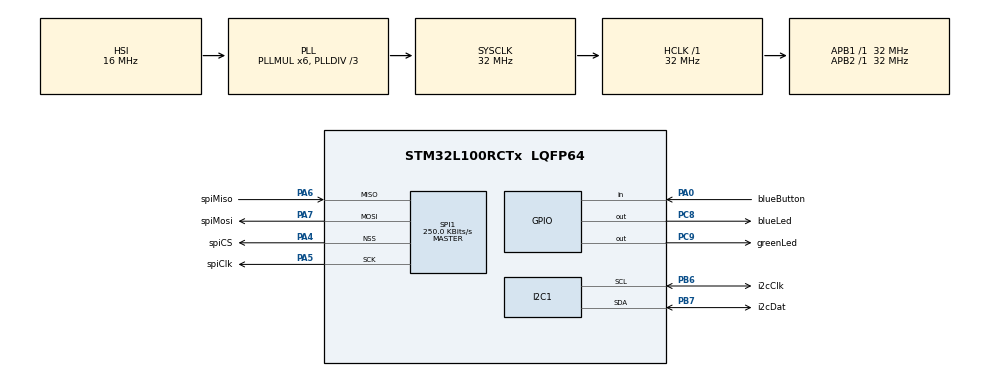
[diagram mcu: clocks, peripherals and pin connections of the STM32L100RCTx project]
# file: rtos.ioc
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FREERTOS.Mutexes01=sensorDatLck,Static,sensorDatLckControlBlock
FREERTOS.Tasks01=defaultTask,8,128,StartDefaultTask,Default,NULL,Static,defaultTaskBuffer,defaultTaskControlBlock;sensorTask,40,256,StartSensorTask,Default,NULL,Static,sensorTaskBuffer,sensorTaskControlBlock;bleTask,24,256,StartBleTask,Default,NULL,Static,bleTaskBuffer,bleTaskControlBlock
Mcu.Family=STM32L1
Mcu.Name=STM32L100RCTx
Mcu.Package=LQFP64
NVIC.PriorityGroup=NVIC_PRIORITYGROUP_4
NVIC.TIM2_IRQn=true\:0\:0\:false\:false\:true\:false\:false\:true
NVIC.TimeBase=TIM2_IRQn
NVIC.TimeBaseIP=TIM2
PA0-WKUP1.GPIO_Label=blueButton
PA0-WKUP1.Signal=GPIO_Input
PA10.GPIO_Label=dbgUartRx
PA10.Signal=USART1_RX
PA13.GPIO_Label=SWDIO
PA13.Mode=Trace_Asynchronous_SW
PA13.Signal=SYS_JTMS-SWDIO
PA14.GPIO_Label=SWCLK
PA14.Mode=Trace_Asynchronous_SW
PA14.Signal=SYS_JTCK-SWCLK
PA4.GPIO_Label=spiCS
PA4.Mode=NSS_Signal_Hard_Output
PA4.Signal=SPI1_NSS
PA5.GPIO_Label=spiClk
PA5.Mode=Full_Duplex_Master
PA5.Signal=SPI1_SCK
PA6.GPIO_Label=spiMiso
PA6.Mode=Full_Duplex_Master
PA6.Signal=SPI1_MISO
PA7.GPIO_Label=spiMosi
PA7.Mode=Full_Duplex_Master
PA7.Signal=SPI1_MOSI
PA9.GPIO_Label=dbgUartTx
PA9.Signal=USART1_TX
PB3.GPIO_Label=SWO
PB3.Mode=Trace_Asynchronous_SW
PB3.Signal=SYS_JTDO-TRACESWO
PB6.GPIO_Label=i2cClk
PB6.Mode=I2C
PB6.Signal=I2C1_SCL
PB7.GPIO_Label=i2cDat
PB7.Mode=I2C
PB7.Signal=I2C1_SDA
PC14-OSC32_IN.GPIO_Label=PC14-OSC32_IN
PC14-OSC32_IN.Signal=RCC_OSC32_IN
PC15-OSC32_OUT.GPIO_Label=PC15-OSC32_OUT
PC15-OSC32_OUT.Signal=RCC_OSC32_OUT
PC8.GPIO_Label=blueLed
PC8.Signal=GPIO_Output
PC9.GPIO_Label=greenLed
PC9.Signal=GPIO_Output
PH0-OSC_IN.GPIO_Label=PH0-OSC_IN
PH0-OSC_IN.Mode=HSE-External-Clock-Source
PH0-OSC_IN.Signal=RCC_OSC_IN
PH1-OSC_OUT.GPIO_Label=PH1-OSC_OUT
PH1-OSC_OUT.Signal=RCC_OSC_OUT
ProjectManager.HeapSize=0x200
ProjectManager.StackSize=0x400
ProjectManager.TargetToolchain=STM32CubeIDE
RCC.48MHZClocksFreq_Value=48000000
RCC.AHBFreq_Value=32000000
RCC.APB1Freq_Value=32000000
RCC.APB1TimFreq_Value=32000000
RCC.APB2Freq_Value=32000000
RCC.APB2TimFreq_Value=32000000
RCC.HCLKFreq_Value=32000000
RCC.HSE_VALUE=8000000
RCC.HSI_VALUE=16000000
RCC.LSEState=RCC_LSE_ON
RCC.LSE_VALUE=32768
RCC.MSI_VALUE=2097000
RCC.PLLDIV=RCC_PLL_DIV3
RCC.PLLMUL=RCC_PLL_MUL6
RCC.RTCClockSelectionVirtual=RCC_RTCCLKSOURCE_LSE
RCC.SYSCLKFreq_VALUE=32000000
RCC.SYSCLKSource=RCC_SYSCLKSOURCE_PLLCLK
RCC.USBOutput=48000000
RCC.VCOOutputFreq_Value=96000000
SPI1.BaudRatePrescaler=SPI_BAUDRATEPRESCALER_128
SPI1.CalculateBaudRate=250.0 KBits/s
SPI1.Direction=SPI_DIRECTION_2LINES
SPI1.Mode=SPI_MODE_MASTER
SPI1.VirtualNSS=VM_NSSHARD
SPI1.VirtualType=VM_MASTER
VP_FREERTOS_VS_CMSIS_V2.Mode=CMSIS_V2
VP_SYS_VS_tim2.Mode=TIM2
board=STM32L100C-DISCO

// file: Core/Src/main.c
/* USER CODE BEGIN Header */
/**
 ******************************************************************************
 * @file           : main.c
 * @brief          : Main program body
 ******************************************************************************
 * @attention
 *
 * <h2><center>&copy; Copyright (c) 2020 STMicroelectronics.
 * All rights reserved.</center></h2>
 *
 * This software component is licensed by ST under BSD 3-Clause license,
 * the "License"; You may not use this file except in compliance with the
 * License. You may obtain a copy of the License at:
 *                        opensource.org/licenses/BSD-3-Clause
 *
 ******************************************************************************
 */
/* USER CODE END Header */

#include "main.h"
#include "cmsis_os.h"

/* USER CODE BEGIN Includes */
#include "ostasks.h"
#include "utils.h"
#include "gpio.h"
/* USER CODE END Includes */

typedef StaticTask_t osStaticThreadDef_t;
typedef StaticSemaphore_t osStaticMutexDef_t;

I2C_HandleTypeDef hi2c1;

SPI_HandleTypeDef hspi1;

/* Definitions for defaultTask */
osThreadId_t defaultTaskHandle;
uint32_t defaultTaskBuffer[ 128 ];
osStaticThreadDef_t defaultTaskControlBlock;
const osThreadAttr_t defaultTask_attributes = {
  .name = "defaultTask",
  .stack_mem = &defaultTaskBuffer[0],
  .stack_size = sizeof(defaultTaskBuffer),
  .cb_mem = &defaultTaskControlBlock,
  .cb_size = sizeof(defaultTaskControlBlock),
  .priority = (osPriority_t) osPriorityLow,
};
/* Definitions for sensorTask */
osThreadId_t sensorTaskHandle;
uint32_t sensorTaskBuffer[ 256 ];
osStaticThreadDef_t sensorTaskControlBlock;
const osThreadAttr_t sensorTask_attributes = {
  .name = "sensorTask",
  .stack_mem = &sensorTaskBuffer[0],
  .stack_size = sizeof(sensorTaskBuffer),
  .cb_mem = &sensorTaskControlBlock,
  .cb_size = sizeof(sensorTaskControlBlock),
  .priority = (osPriority_t) osPriorityHigh,
};
/* Definitions for bleTask */
osThreadId_t bleTaskHandle;
uint32_t bleTaskBuffer[ 256 ];
osStaticThreadDef_t bleTaskControlBlock;
const osThreadAttr_t bleTask_attributes = {
  .name = "bleTask",
  .stack_mem = &bleTaskBuffer[0],
  .stack_size = sizeof(bleTaskBuffer),
  .cb_mem = &bleTaskControlBlock,
  .cb_size = sizeof(bleTaskControlBlock),
  .priority = (osPriority_t) osPriorityNormal,
};
/* Definitions for sensorDatLck */
osMutexId_t sensorDatLckHandle;
osStaticMutexDef_t sensorDatLckControlBlock;
const osMutexAttr_t sensorDatLck_attributes = {
  .name = "sensorDatLck",
  .cb_mem = &sensorDatLckControlBlock,
  .cb_size = sizeof(sensorDatLckControlBlock),
};

void SystemClock_Config(void);
static void MX_GPIO_Init(void);
static void MX_SPI1_Init(void);
static void MX_I2C1_Init(void);
void StartDefaultTask(void *argument);
void StartSensorTask(void *argument);
void StartBleTask(void *argument);

int main(void)
{

  /* MCU Configuration--------------------------------------------------------*/

  /* Reset of all peripherals, Initializes the Flash interface and the Systick. */
  HAL_Init();

  /* Configure the system clock */
  SystemClock_Config();

  /* Initialize all configured peripherals */
  MX_GPIO_Init();
  MX_SPI1_Init();
  MX_I2C1_Init();

  /* Init scheduler */
  osKernelInitialize();
  /* Create the mutex(es) */
  /* creation of sensorDatLck */
  sensorDatLckHandle = osMutexNew(&sensorDatLck_attributes);

  /* Create the thread(s) */
  /* creation of defaultTask */
  defaultTaskHandle = osThreadNew(StartDefaultTask, NULL, &defaultTask_attributes);

  /* creation of sensorTask */
  sensorTaskHandle = osThreadNew(StartSensorTask, NULL, &sensorTask_attributes);

  /* creation of bleTask */
  bleTaskHandle = osThreadNew(StartBleTask, NULL, &bleTask_attributes);

  /* Start scheduler */
  osKernelStart();

  /* We should never get here as control is now taken by the scheduler */
  /* Infinite loop */
	while (1) {

    /* USER CODE BEGIN 3 */
		Error_Handler();
	}
  /* USER CODE END 3 */
}

void SystemClock_Config(void)
{
  RCC_OscInitTypeDef RCC_OscInitStruct = {0};
  RCC_ClkInitTypeDef RCC_ClkInitStruct = {0};

  /** Configure the main internal regulator output voltage
  */
  __HAL_PWR_VOLTAGESCALING_CONFIG(PWR_REGULATOR_VOLTAGE_SCALE1);
  /** Initializes the CPU, AHB and APB busses clocks
  */
  RCC_OscInitStruct.OscillatorType = RCC_OSCILLATORTYPE_HSI;
  RCC_OscInitStruct.HSIState = RCC_HSI_ON;
  RCC_OscInitStruct.HSICalibrationValue = RCC_HSICALIBRATION_DEFAULT;
  RCC_OscInitStruct.PLL.PLLState = RCC_PLL_ON;
  RCC_OscInitStruct.PLL.PLLSource = RCC_PLLSOURCE_HSI;
  RCC_OscInitStruct.PLL.PLLMUL = RCC_PLL_MUL6;
  RCC_OscInitStruct.PLL.PLLDIV = RCC_PLL_DIV3;
  if (HAL_RCC_OscConfig(&RCC_OscInitStruct) != HAL_OK)
  {
    Error_Handler();
  }
  /** Initializes the CPU, AHB and APB busses clocks
  */
  RCC_ClkInitStruct.ClockType = RCC_CLOCKTYPE_HCLK|RCC_CLOCKTYPE_SYSCLK
                              |RCC_CLOCKTYPE_PCLK1|RCC_CLOCKTYPE_PCLK2;
  RCC_ClkInitStruct.SYSCLKSource = RCC_SYSCLKSOURCE_PLLCLK;
  RCC_ClkInitStruct.AHBCLKDivider = RCC_SYSCLK_DIV1;
  RCC_ClkInitStruct.APB1CLKDivider = RCC_HCLK_DIV1;
  RCC_ClkInitStruct.APB2CLKDivider = RCC_HCLK_DIV1;

  if (HAL_RCC_ClockConfig(&RCC_ClkInitStruct, FLASH_LATENCY_1) != HAL_OK)
  {
    Error_Handler();
  }
}

static void MX_I2C1_Init(void)
{

  hi2c1.Instance = I2C1;
  hi2c1.Init.ClockSpeed = 100000;
  hi2c1.Init.DutyCycle = I2C_DUTYCYCLE_2;
  hi2c1.Init.OwnAddress1 = 0;
  hi2c1.Init.AddressingMode = I2C_ADDRESSINGMODE_7BIT;
  hi2c1.Init.DualAddressMode = I2C_DUALADDRESS_DISABLE;
  hi2c1.Init.OwnAddress2 = 0;
  hi2c1.Init.GeneralCallMode = I2C_GENERALCALL_DISABLE;
  hi2c1.Init.NoStretchMode = I2C_NOSTRETCH_DISABLE;
  if (HAL_I2C_Init(&hi2c1) != HAL_OK)
  {
    Error_Handler();
  }

}

static void MX_SPI1_Init(void)
{

  /* SPI1 parameter configuration*/
  hspi1.Instance = SPI1;
  hspi1.Init.Mode = SPI_MODE_MASTER;
  hspi1.Init.Direction = SPI_DIRECTION_2LINES;
  hspi1.Init.DataSize = SPI_DATASIZE_8BIT;
  hspi1.Init.CLKPolarity = SPI_POLARITY_LOW;
  hspi1.Init.CLKPhase = SPI_PHASE_1EDGE;
  hspi1.Init.NSS = SPI_NSS_HARD_OUTPUT;
  hspi1.Init.BaudRatePrescaler = SPI_BAUDRATEPRESCALER_128;
  hspi1.Init.FirstBit = SPI_FIRSTBIT_MSB;
  hspi1.Init.TIMode = SPI_TIMODE_DISABLE;
  hspi1.Init.CRCCalculation = SPI_CRCCALCULATION_DISABLE;
  hspi1.Init.CRCPolynomial = 10;
  if (HAL_SPI_Init(&hspi1) != HAL_OK)
  {
    Error_Handler();
  }

}

static void MX_GPIO_Init(void)
{
  GPIO_InitTypeDef GPIO_InitStruct = {0};

  /* GPIO Ports Clock Enable */
  __HAL_RCC_GPIOC_CLK_ENABLE();
  __HAL_RCC_GPIOH_CLK_ENABLE();
  __HAL_RCC_GPIOA_CLK_ENABLE();
  __HAL_RCC_GPIOB_CLK_ENABLE();

  /*Configure GPIO pin Output Level */
  HAL_GPIO_WritePin(GPIOC, blueLed_Pin|greenLed_Pin, GPIO_PIN_RESET);

  /*Configure GPIO pin : blueButton_Pin */
  GPIO_InitStruct.Pin = blueButton_Pin;
  GPIO_InitStruct.Mode = GPIO_MODE_INPUT;
  GPIO_InitStruct.Pull = GPIO_NOPULL;
  HAL_GPIO_Init(blueButton_GPIO_Port, &GPIO_InitStruct);

  /*Configure GPIO pins : blueLed_Pin greenLed_Pin */
  GPIO_InitStruct.Pin = blueLed_Pin|greenLed_Pin;
  GPIO_InitStruct.Mode = GPIO_MODE_OUTPUT_PP;
  GPIO_InitStruct.Pull = GPIO_NOPULL;
  GPIO_InitStruct.Speed = GPIO_SPEED_FREQ_LOW;
  HAL_GPIO_Init(GPIOC, &GPIO_InitStruct);

  /*Configure GPIO pins : dbgUartTx_Pin dbgUartRx_Pin */
  GPIO_InitStruct.Pin = dbgUartTx_Pin|dbgUartRx_Pin;
  GPIO_InitStruct.Mode = GPIO_MODE_AF_PP;
  GPIO_InitStruct.Pull = GPIO_NOPULL;
  GPIO_InitStruct.Speed = GPIO_SPEED_FREQ_VERY_HIGH;
  GPIO_InitStruct.Alternate = GPIO_AF7_USART1;
  HAL_GPIO_Init(GPIOA, &GPIO_InitStruct);

}

void StartDefaultTask(void *argument)
{
  /* USER CODE BEGIN 5 */
	/* Infinite loop */
	nullTask();
  /* USER CODE END 5 */
}

void StartSensorTask(void *argument)
{
  /* USER CODE BEGIN StartSensorTask */
	sensorTask();
  /* USER CODE END StartSensorTask */
}

void StartBleTask(void *argument)
{
  /* USER CODE BEGIN StartBleTask */
	bleTask();
  /* USER CODE END StartBleTask */
}

 /**
  * @brief  Period elapsed callback in non blocking mode
  * @note   This function is called  when TIM2 interrupt took place, inside
  * HAL_TIM_IRQHandler(). It makes a direct call to HAL_IncTick() to increment
  * a global variable "uwTick" used as application time base.
  * @param  htim : TIM handle
  * @retval None
  */
void HAL_TIM_PeriodElapsedCallback(TIM_HandleTypeDef *htim)
{
  if (htim->Instance == TIM2) {
    HAL_IncTick();
  }
}

void Error_Handler(void)
{
  /* USER CODE BEGIN Error_Handler_Debug */
	/* User can add his own implementation to report the HAL error return state */
	clrBleStatusLed();
	clrSensorStatusLed();
	dbgPrintf("fuck %s\n", osThreadGetName(osThreadGetId()));
	while (1)
		;
  /* USER CODE END Error_Handler_Debug */
}

/************************ (C) COPYRIGHT STMicroelectronics *****END OF FILE****/

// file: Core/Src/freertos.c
/* USER CODE BEGIN Header */
/**
 ******************************************************************************
 * File Name          : freertos.c
 * Description        : Code for freertos applications
 ******************************************************************************
 * @attention
 *
 * <h2><center>&copy; Copyright (c) 2020 STMicroelectronics.
 * All rights reserved.</center></h2>
 *
 * This software component is licensed by ST under Ultimate Liberty license
 * SLA0044, the "License"; You may not use this file except in compliance with
 * the License. You may obtain a copy of the License at:
 *                             www.st.com/SLA0044
 *
 ******************************************************************************
 */
/* USER CODE END Header */

#include "FreeRTOS.h"
#include "task.h"
#include "main.h"

/* USER CODE BEGIN Includes */
#include "cmsis_os.h"
#include "sensordata.h"
#include "utils.h"
/* USER CODE END Includes */

/* USER CODE BEGIN Application */
void printSensorCfg(void) {
	int aCfg;
	int gCfg;
	getSensorCfg(&aCfg, &gCfg);
	dbgPrintf("CfgAG: 0x%02x 0x%02x\n", aCfg, gCfg);
}

void printSensorErr(void) {
	// PLACE SENSOR FLAT INORDER TO GET PROPER VALUES
	dbgPrintf("ERR CALC:KEEP SENS FLAT\n");
	// The error values used in the equations are calculated here
	Reading aErr, gErr;
	getSensorErr(&aErr, &gErr);
	dbgPrintf("AEXY: %d %d\n", (int) aErr.x, (int) aErr.y);
	dbgPrintf("GEXYZ: %d %d %d\n", (int) gErr.x, (int) gErr.y, (int) gErr.z);
}

void printRollPitchYaw(void) {
	Reading r;
	getSensorRollPitchYaw(&r);
	dbgPrintf("R:%d P:%d Y:%d\n", (int) r.x, (int) r.y, (int) r.z);
}

void bleTxRollPitchYaw(void) {
	Reading r;
	getSensorRollPitchYaw(&r);
	blePrintf("RPY: %d %d %d\n", (int) r.x, (int) r.y, (int) r.z);
}

void bleTxSensorCfg(void) {
	int aCfg;
	int gCfg;
	getSensorCfg(&aCfg, &gCfg);
	blePrintf("CfgAG: 0x%02x 0x%02x\n", aCfg, gCfg);
}

void bleTxSensorErr(void) {
	// The error values used in the equations are calculated here
	Reading aErr, gErr;
	getSensorErr(&aErr, &gErr);
	// PLACE SENSOR FLAT INORDER TO GET PROPER VALUES
	blePrintf("ERR CALC:KEEP SENS FLAT\n");
	blePrintf("AEXY: %d %d\n", (int) aErr.x, (int) aErr.y);
	blePrintf("GEXYZ: %d %d %d\n", (int) gErr.x, (int) gErr.y, (int) gErr.z);
}

void bleTxDevInfo(){
	char verStr[32];
	get32CharDevInfo(verStr);
	blePrintf("%s\n", verStr);
}

void nullTask(void) {
	for (;;) {
		osDelay(1);
	}
}
// PRIORITY OF SENSOR TASK SHOULD BE HIGHER THAN TASKS WHICH CONSUME SENSOR DATA!!!
// THIS OS DOESN"T SEEM TO HAVE PRIORITY INVERSION.
// HENCE, THERE COULD BE DEADLOCK ON SENSOR DATA IF SENSOR TASK IS AT LOWER PRIORITY THAN TASKS THAT CONSUME SENSOR DATA
void sensorTask(void) {
	initSensor();

	//	// DONT USE ANY OF THE APIS BELOW WITHOUT IMPLEMENTING SIGNAL SYNC MECHANISM
	//	// IF YOU USE WITH SYNC MECHANISM, YOU CAN FIND YOURSELF IN DEADLOCK
	//	rdSensorCfg();
	//	// sensor config read signal
	//	printSensorCfg();
	//
	//	calcSensorErr();
	//	// sensor error read signal
	//	printSensorErr();

	//  // sendor init complete signal
	for (;;) {
		calcSensorRollPitchYaw();
		printRollPitchYaw();

		osDelay(50);
	}
}

void bleTask(void) {
	bleRst();
	osDelay(1000);

	bleTxDevInfo();
	//	// DONT USE ANY OF THE APIS BELOW WITHOUT IMPLEMENTING SIGNAL SYNC MECHANISM
	//	// IF YOU USE WITH SYNC MECHANISM, YOU CAN FIND YOURSELF IN DEADLOCK
	//	// wait for sensor task signals
	//	// if sensor cfg read signal
	//		bleTxSensorCfg();
	//	// if sensor error read signal
	//		bleTxSensorErr();
	//	// if sensor init complete signal
	for (;;) {
		//		uint8_t pTxData[3][20] = {
		//				{ 0x10, 0x01, 0x0a, 0x10, 0x54, 0x68, 0x65, 0x20, 0x71, 0x75, 0x69, 0x63, 0x6b, 0x20, 0x62, 0x72, 0x6f, 0x77, 0x6e, 0x20},
		//				{ 0x10, 0x01, 0x0a, 0x10, 0x66, 0x6f, 0x78, 0x20, 0x6a, 0x75, 0x6d, 0x70, 0x73, 0x20, 0x6f, 0x76, 0x65, 0x72, 0x20, 0x74},
		//				{ 0x10, 0x01, 0x0a, 0xc, 0x68, 0x65, 0x20, 0x6c, 0x61, 0x7a, 0x79, 0x20, 0x64, 0x6f, 0x67, 0x0a, 0xff, 0xff, 0xff, 0xff}
		//		};
		//		uint8_t eRxResp[20] = { 0x20, 0x01, 0x0a, 0x00, 0xff, 0xff, 0xff, 0xff, 0xff, 0xff, 0xff, 0xff, 0xff, 0xff, 0xff, 0xff, 0xff, 0xff, 0xff, 0xff };
		//		for(int i = 0; i < 3; ++i){
		//			sendBlePkt(&pTxData[i][0], eRxResp);
		//			osDelay(50);
		//		}
		bleTxRollPitchYaw();
		osDelay(500);
	}
}

/* USER CODE END Application */

/************************ (C) COPYRIGHT STMicroelectronics *****END OF FILE****/
